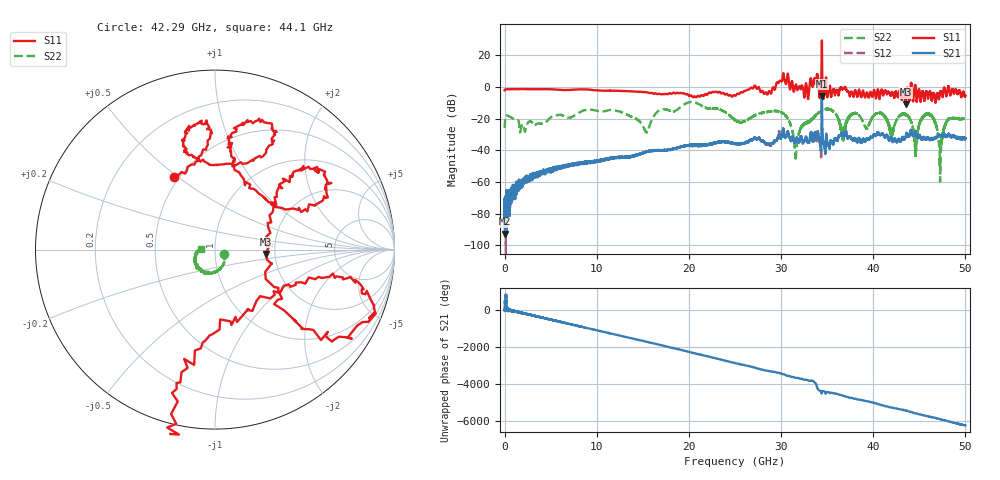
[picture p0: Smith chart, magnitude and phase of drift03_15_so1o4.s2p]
!Created with skrf (http://scikit-rf.org).
# Hz S RI R 50.0
!freq ReS11 ImS11 ReS21 ImS21 ReS12 ImS12 ReS22 ImS22
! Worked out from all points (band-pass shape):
!   10000 points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, 5.3 MHz to 50 GHz, reference 50 ohm
!   highest |S21| = -5.73 dB at 34.43 GHz (marker M1); lowest = -92.8 dB at 70.3 MHz (marker M2)
!   |S21| within 3 dB of the highest: 34.42772 GHz to 34.43455 GHz (6.829 MHz wide, 0.0198 % of centre)
!   lowest |S11| = -11.0 dB at 43.53 GHz (marker M3), VSWR 1.79, Z = 89 - j4.76 ohm
!   |S11| at or under -10 dB: 43.50611 GHz to 43.53859 GHz (32.48 MHz wide, 0.0746 % of centre); 43.54741 GHz to 43.55257 GHz (5.154 MHz wide, 0.0118 % of centre)
!   |S22| runs from -59.8 to -9.4 dB; largest |S21 - S12| = 0.15
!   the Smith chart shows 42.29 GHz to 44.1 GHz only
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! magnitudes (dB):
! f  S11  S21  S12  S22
! 5.3 MHz  -2.1  -82.1  -75.9  -25.9
! 70.3 MHz  -1.5  -92.8  -80.2  -19.5
! 2.255 GHz  -1.3  -57.8  -60.6  -27.6
! 8.34 GHz  -1.5  -48.2  -48.0  -15.4
! 15.39 GHz  -3.5  -40.9  -40.8  -28.6
! 16.67 GHz  -4.4  -39.9  -40.0  -15.3
! 20.45 GHz  -6.5  -36.7  -36.8  -9.5
! 25.01 GHz  -5.5  -35.4  -35.9  -20.9
! 29.96 GHz  3.9  -32.5  -32.3  -15.9
! 31.61 GHz  1.6  -33.5  -33.6  -43.8
! 33.34 GHz  2.5  -30.2  -30.5  -20.4
! 34.43 GHz  29.4  -5.7  -7.6  -14.6
! 36.71 GHz  -1.3  -30.1  -30.2  -28.6
! 37.93 GHz  -4.8  -33.4  -33.1  -16.9
! 41.67 GHz  -3.2  -33.4  -33.5  -22.9
! 43.53 GHz  -11.0  -31.1  -31.3  -17.3
! 44.61 GHz  -1.0  -29.0  -29.0  -41.0
! 45.27 GHz  -4.0  -33.1  -33.0  -19.9
! 46.24 GHz  -4.1  -33.1  -32.8  -17.5
! 47.29 GHz  -3.1  -30.7  -30.7  -51.2
! 48.1 GHz  -0.2  -30.5  -30.0  -20.2
! 50 GHz  -5.4  -32.2  -32.6  -19.7
